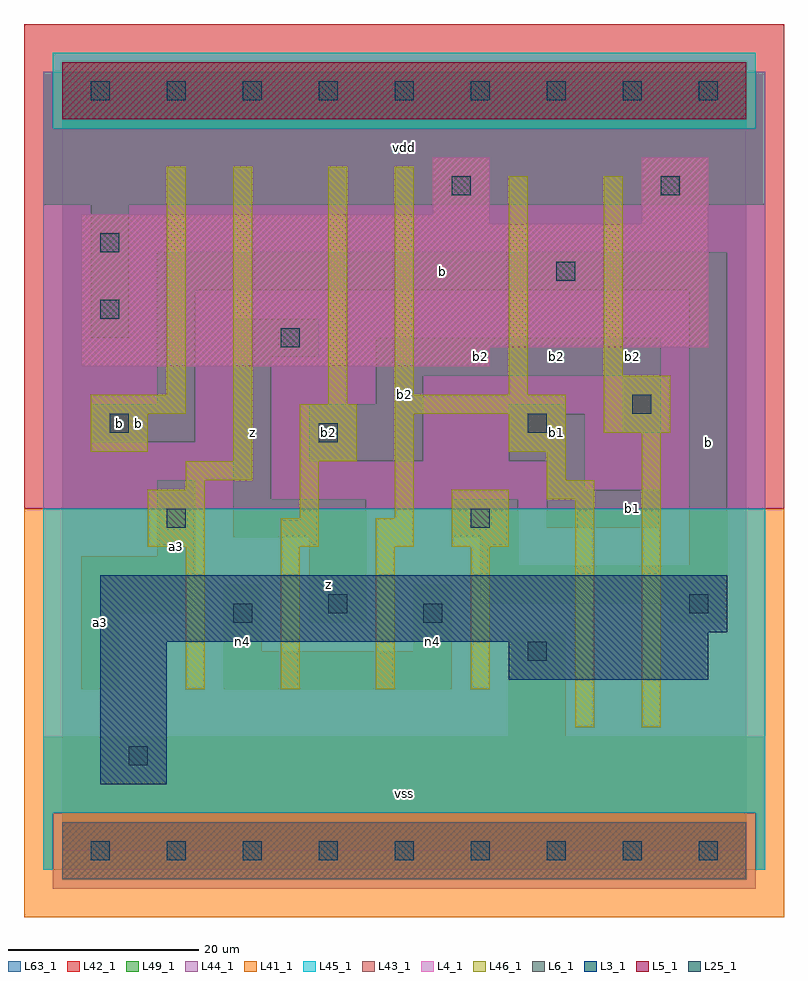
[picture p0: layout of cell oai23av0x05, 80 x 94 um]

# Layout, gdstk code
import gdstk
lib = gdstk.Library(unit=1e-6, precision=1e-09)
def R(c, l, rs):  # rectangles x0, y0, x1, y1
    for r in rs: c.add(gdstk.rectangle(r[:2], r[2:], *l))
def A(c, l, x, y, w, h, nx, ny, dx, dy):  # array of equal rectangles
    R(c, l, [(x+i*dx, y+j*dy, x+i*dx+w, y+j*dy+h) for i in range(nx) for j in range(ny)])
L3_1 = (3, 1)
L4_1 = (4, 1)
L5_1 = (5, 1)
L6_1 = (6, 1)
L25_1 = (25, 1)
L41_1 = (41, 1)
L42_1 = (42, 1)
L43_1 = (43, 1)
L44_1 = (44, 1)
L45_1 = (45, 1)
L46_1 = (46, 1)
L49_1 = (49, 1)
L63_1 = (63, 1)

oai23av0x05 = lib.new_cell('oai23av0x05')
R(oai23av0x05, L3_1, [(4,7,11,22), (47,18,68,22), (4,22,68,23), (4,23,70,29)])
R(oai23av0x05, L4_1, [(2,51,45,53), (2,53,68,66), (2,66,45,67), (61,66,68,73), (39,67,45,73)])
R(oai23av0x05, L5_1, [(0,77,72,83)])
R(oai23av0x05, L6_1, [(0,-3,72,3), (0,-3,72,3)])
A(oai23av0x05, L25_1, 3, -1, 2, 2, 9, 2, 8, 80)
R(oai23av0x05, L25_1, [(7,9,9,11), (49,20,51,22), (18,24,20,26), (38,24,40,26), (28,25,30,27), (66,25,68,27), (11,34,13,36), (43,34,45,36), (27,43,29,45), (5,44,7,46), (49,44,51,46), (60,46,62,48), (23,53,25,55), (4,56,6,58), (52,60,54,62), (4,63,6,65), (41,69,43,71), (63,69,65,71)])
R(oai23av0x05, L41_1, [(-4,-7,76,36)])
R(oai23av0x05, L42_1, [(-4,36,76,87)])
R(oai23av0x05, L43_1, [(0,-3,72,3), (4,7,11,22), (47,18,68,22), (4,22,68,23), (4,23,70,29), (2,51,45,53), (2,53,68,66), (2,66,45,67), (61,66,68,73), (39,67,45,73), (0,77,72,83)])
R(oai23av0x05, L44_1, [(-1,-4,73,4), (-2,36,74,76), (-2,76,-1,82), (73,76,74,82)])
R(oai23av0x05, L45_1, [(-2,-2,-1,4), (73,-2,74,4), (-2,4,74,36), (-1,76,73,84)])
A(oai23av0x05, L46_1, 13, 17, 2, 15, 4, 1, 10, 0)
R(oai23av0x05, L46_1, [(54,13,56,37), (61,13,63,44), (9,32,15,38), (23,32,27,35), (33,32,37,35), (41,32,47,38), (25,35,27,41), (35,35,37,46), (51,37,56,39), (13,38,15,39), (13,39,20,41), (51,39,53,42), (18,41,20,72), (25,41,31,47), (3,42,9,46), (47,42,53,46), (57,44,64,50), (3,46,13,48), (35,46,53,48), (28,47,30,72), (11,48,13,72), (35,48,37,72), (47,48,49,71), (57,50,59,71)])
R(oai23av0x05, L49_1, [(-2,-2,74,12), (47,12,53,23), (2,17,6,25), (17,17,41,21), (17,21,21,28), (37,21,41,28), (26,24,32,33), (64,24,70,26), (2,25,14,31), (44,26,70,30), (44,30,48,33), (66,30,70,59), (10,31,14,39), (18,33,32,37), (41,33,48,37), (51,34,63,38), (18,37,22,52), (51,38,55,41), (26,41,38,47), (47,41,55,46), (3,43,14,47), (59,44,63,50), (47,46,53,47), (10,47,14,59), (33,47,38,50), (33,50,63,54), (18,52,27,56), (3,54,7,68), (10,59,70,63), (-2,68,74,82)])
R(oai23av0x05, L63_1, [(0,0,72,80)])
oai23av0x05.add(gdstk.Label('b', (6,45), layer=49, texttype=1))
oai23av0x05.add(gdstk.Label('a3', (4,24), layer=49, texttype=1))
oai23av0x05.add(gdstk.Label('n4', (19,22), layer=49, texttype=1))
oai23av0x05.add(gdstk.Label('a3', (12,32), layer=49, texttype=1))
oai23av0x05.add(gdstk.Label('b', (8,45), layer=49, texttype=1))
oai23av0x05.add(gdstk.Label('z', (20,44), layer=49, texttype=1))
oai23av0x05.add(gdstk.Label('vss', (36,6), layer=49, texttype=1))
oai23av0x05.add(gdstk.Label('z', (28,28), layer=49, texttype=1))
oai23av0x05.add(gdstk.Label('n4', (39,22), layer=49, texttype=1))
oai23av0x05.add(gdstk.Label('b2', (28,44), layer=49, texttype=1))
oai23av0x05.add(gdstk.Label('b2', (36,48), layer=49, texttype=1))
oai23av0x05.add(gdstk.Label('vdd', (36,74), layer=49, texttype=1))
oai23av0x05.add(gdstk.Label('b1', (52,44), layer=49, texttype=1))
oai23av0x05.add(gdstk.Label('b2', (52,52), layer=49, texttype=1))
oai23av0x05.add(gdstk.Label('b2', (44,52), layer=49, texttype=1))
oai23av0x05.add(gdstk.Label('b1', (60,36), layer=49, texttype=1))
oai23av0x05.add(gdstk.Label('b2', (60,52), layer=49, texttype=1))
oai23av0x05.add(gdstk.Label('b', (68,43), layer=49, texttype=1))
oai23av0x05.add(gdstk.Label('b', (40,61), layer=49, texttype=1))

lib.write_gds('oai23av0x05.gds')
